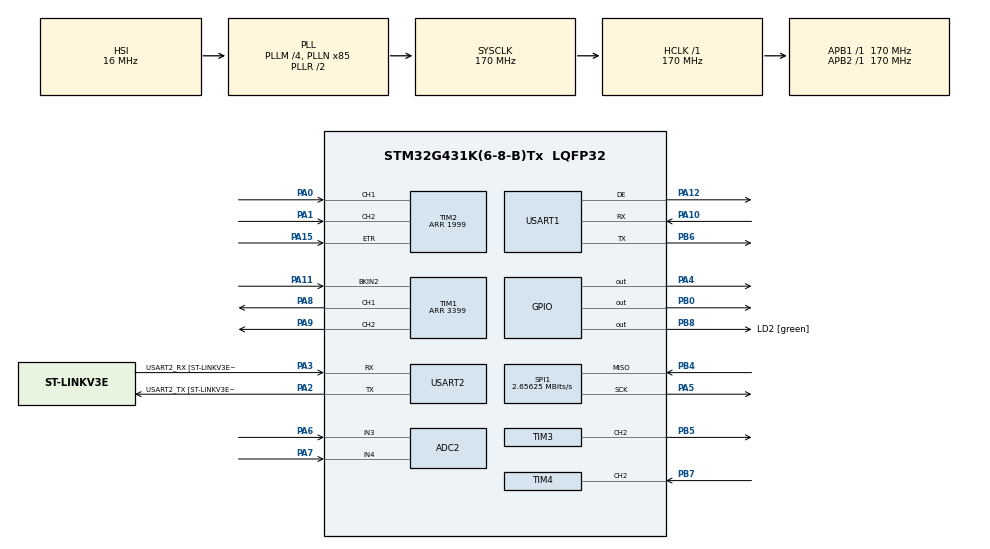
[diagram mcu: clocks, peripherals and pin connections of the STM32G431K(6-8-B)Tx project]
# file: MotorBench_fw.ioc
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ADC2.Channel-0\#ChannelRegularConversion=ADC_CHANNEL_3
ADC2.NbrOfConversionFlag=1
ADC2.OffsetNumber-0\#ChannelRegularConversion=ADC_OFFSET_NONE
ADC2.Rank-0\#ChannelRegularConversion=1
ADC2.SamplingTime-0\#ChannelRegularConversion=ADC_SAMPLETIME_2CYCLES_5
ADC2.SingleDiff-0\#ChannelRegularConversion=ADC_DIFFERENTIAL_ENDED
ARM.CMSIS.5.6.0.CMSISJjDSP=Library
FREERTOS.MEMORY_ALLOCATION=2
FREERTOS.Tasks01=defaultTask,0,128,StartDefaultTask,Default,NULL,Static,defaultTaskBuffer,defaultTaskControlBlock;EncoderRead,0,128,EncoderReadTask,Default,NULL,Static,EncoderReadBuffer,EncoderReadControlBlock;SpiTask,0,256,SpiTaxk,Default,NULL,Static,SpiTaskBuffer,SpiTaskControlBlock
FREERTOS.configENABLE_FPU=1
FREERTOS.configMINIMAL_STACK_SIZE=64
Mcu.Family=STM32G4
Mcu.Name=STM32G431K(6-8-B)Tx
Mcu.Package=LQFP32
NVIC.PriorityGroup=NVIC_PRIORITYGROUP_4
NVIC.TIM1_TRG_COM_TIM17_IRQn=true\:0\:0\:false\:false\:true\:false\:false\:true
NVIC.TimeBase=TIM1_TRG_COM_TIM17_IRQn
NVIC.TimeBaseIP=TIM17
PA0.Signal=S_TIM2_CH1
PA1.Signal=S_TIM2_CH2
PA10.Mode=Asynchronous
PA10.Signal=USART1_RX
PA11.Mode=Activate-Break-Input-2
PA11.Signal=TIM1_BKIN2
PA12.Mode=Hardware Flow Control (RS485)
PA12.Signal=USART1_DE
PA13.GPIO_Label=T_SWDIO
PA13.Mode=Trace_Asynchronous_SW
PA13.Signal=SYS_JTMS-SWDIO
PA14.GPIO_Label=T_SWCLK
PA14.Mode=Trace_Asynchronous_SW
PA14.Signal=SYS_JTCK-SWCLK
PA15.Signal=S_TIM2_ETR
PA2.GPIO_Label=USART2_TX [ST-LINKV3E_VCP_RX]
PA2.Mode=Asynchronous
PA2.Signal=USART2_TX
PA3.GPIO_Label=USART2_RX [ST-LINKV3E_VCP_TX]
PA3.Mode=Asynchronous
PA3.Signal=USART2_RX
PA4.Signal=GPIO_Output
PA5.Mode=RX_Only_Simplex_Unidirect_Master
PA5.Signal=SPI1_SCK
PA6.Mode=IN3-Differential
PA6.Signal=ADC2_IN3
PA7.Mode=IN3-Differential
PA7.Signal=ADC2_IN4
PA8.Signal=S_TIM1_CH1
PA9.Signal=S_TIM1_CH2
PB0.Signal=GPIO_Output
PB3.GPIO_Label=T_SWO
PB3.Mode=Trace_Asynchronous_SW
PB3.Signal=SYS_JTDO-SWO
PB4.Mode=RX_Only_Simplex_Unidirect_Master
PB4.Signal=SPI1_MISO
PB5.Signal=S_TIM3_CH2
PB6.Mode=Asynchronous
PB6.Signal=USART1_TX
PB7.Signal=S_TIM4_CH2
PB8-BOOT0.GPIO_Label=LD2 [green]
PB8-BOOT0.Signal=GPIO_Output
ProjectManager.HeapSize=0x200
ProjectManager.StackSize=0x400
ProjectManager.TargetToolchain=STM32CubeIDE
RCC.ADC12Freq_Value=170000000
RCC.AHBFreq_Value=170000000
RCC.APB1Freq_Value=170000000
RCC.APB1TimFreq_Value=170000000
RCC.APB2Freq_Value=170000000
RCC.APB2TimFreq_Value=170000000
RCC.CortexFreq_Value=170000000
RCC.EXTERNAL_CLOCK_VALUE=12288000
RCC.HCLKFreq_Value=170000000
RCC.HSE_VALUE=8000000
RCC.HSI48_VALUE=48000000
RCC.HSI_VALUE=16000000
RCC.LSE_VALUE=32768
RCC.PLLM=RCC_PLLM_DIV4
RCC.PLLN=85
RCC.SYSCLKFreq_VALUE=170000000
RCC.SYSCLKSource=RCC_SYSCLKSOURCE_PLLCLK
RCC.USBFreq_Value=170000000
RCC.VCOOutputFreq_Value=340000000
SH.S_TIM1_CH1.0=TIM1_CH1,PWM Generation1 CH1
SH.S_TIM1_CH2.0=TIM1_CH2,PWM Generation2 CH2
SH.S_TIM2_CH1.0=TIM2_CH1,Encoder_Interface_w_index
SH.S_TIM2_CH2.0=TIM2_CH2,Encoder_Interface_w_index
SH.S_TIM2_ETR.0=TIM2_ETR,Encoder_Interface_w_index
SH.S_TIM3_CH2.0=TIM3_CH2,PWM Generation2 CH2
SH.S_TIM4_CH2.0=TIM4_CH2,PWM_Input_2
SPI1.BaudRatePrescaler=SPI_BAUDRATEPRESCALER_64
SPI1.CalculateBaudRate=2.65625 MBits/s
SPI1.DataSize=SPI_DATASIZE_8BIT
SPI1.Direction=SPI_DIRECTION_2LINES_RXONLY
SPI1.Mode=SPI_MODE_MASTER
SPI1.VirtualType=VM_MASTER
TIM1.Break2State=TIM_BREAK2_DISABLE
TIM1.Channel-PWM\ Generation1\ CH1=TIM_CHANNEL_1
TIM1.Channel-PWM\ Generation2\ CH2=TIM_CHANNEL_2
TIM1.PeriodNoDither=3399
TIM1.PulseNoDither_1=0
TIM1.PulseNoDither_2=400
TIM1.RepetitionCounter=0
TIM2.EncoderMode=TIM_ENCODERMODE_TI12
TIM2.PeriodNoDither=1999
TIM3.Channel-PWM\ Generation2\ CH2=TIM_CHANNEL_2
USART1.VirtualMode-Asynchronous=VM_ASYNC
USART1.VirtualMode-Hardware\ Flow\ Control\ (RS485)=VM_ASYNC
USART2.VirtualMode-Asynchronous=VM_ASYNC
USART2.WordLength=WORDLENGTH_8B
VP_ARM.CMSIS_VS_CMSISJjDSP_1.7.0.Mode=CMSISJjDSP
VP_FREERTOS_VS_CMSIS_V1.Mode=CMSIS_V1
VP_SYS_VS_DBSignals.Mode=DisableDeadBatterySignals
VP_SYS_VS_tim17.Mode=TIM17
board=NUCLEO-G431KB

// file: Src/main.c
/* USER CODE BEGIN Header */
/**
  ******************************************************************************
  * @file           : main.c
  * @brief          : Main program body
  ******************************************************************************
  * @attention
  *
  * <h2><center>&copy; Copyright (c) 2020 STMicroelectronics.
  * All rights reserved.</center></h2>
  *
  * This software component is licensed by ST under Ultimate Liberty license
  * SLA0044, the "License"; You may not use this file except in compliance with
  * the License. You may obtain a copy of the License at:
  *                             www.st.com/SLA0044
  *
  ******************************************************************************
  */
/* USER CODE END Header */

#include "main.h"
#include "cmsis_os.h"
#include "adc.h"
#include "spi.h"
#include "tim.h"
#include "usart.h"
#include "gpio.h"

/* USER CODE BEGIN Includes */
#include <stdio.h>
#include <stdint.h>

#ifdef __GNUC__
#define PUTCHAR_PROTOTYPE int __io_putchar(int ch)
#else
#define PUTCHAR_PROTOTYPE int fputc(int ch, FILE *f)
#endif /* __GNUC__ */
void __io_putchar(uint8_t ch) {
HAL_UART_Transmit(&huart2, &ch, 1, 1);
}
/* USER CODE END Includes */

void SystemClock_Config(void);
void MX_FREERTOS_Init(void);

int main(void)
{

  /* MCU Configuration--------------------------------------------------------*/

  /* Reset of all peripherals, Initializes the Flash interface and the Systick. */
  HAL_Init();

  /* Configure the system clock */
  SystemClock_Config();

  /* Initialize all configured peripherals */
  MX_GPIO_Init();
  MX_USART2_UART_Init();
  MX_ADC2_Init();
  MX_SPI1_Init();
  MX_TIM1_Init();
  MX_TIM2_Init();
  MX_TIM3_Init();
  MX_TIM4_Init();
  MX_USART1_UART_Init();
  /* USER CODE BEGIN 2 */
  setbuf(stdout, NULL );
  /* USER CODE END 2 */

  /* Call init function for freertos objects (in freertos.c) */
  MX_FREERTOS_Init();
  /* Start scheduler */
  osKernelStart();

  /* We should never get here as control is now taken by the scheduler */
  /* Infinite loop */
  while (1)
  {

  }
}

void SystemClock_Config(void)
{
  RCC_OscInitTypeDef RCC_OscInitStruct = {0};
  RCC_ClkInitTypeDef RCC_ClkInitStruct = {0};
  RCC_PeriphCLKInitTypeDef PeriphClkInit = {0};

  /** Configure the main internal regulator output voltage
  */
  HAL_PWREx_ControlVoltageScaling(PWR_REGULATOR_VOLTAGE_SCALE1_BOOST);
  /** Initializes the CPU, AHB and APB busses clocks
  */
  RCC_OscInitStruct.OscillatorType = RCC_OSCILLATORTYPE_HSI;
  RCC_OscInitStruct.HSIState = RCC_HSI_ON;
  RCC_OscInitStruct.HSICalibrationValue = RCC_HSICALIBRATION_DEFAULT;
  RCC_OscInitStruct.PLL.PLLState = RCC_PLL_ON;
  RCC_OscInitStruct.PLL.PLLSource = RCC_PLLSOURCE_HSI;
  RCC_OscInitStruct.PLL.PLLM = RCC_PLLM_DIV4;
  RCC_OscInitStruct.PLL.PLLN = 85;
  RCC_OscInitStruct.PLL.PLLP = RCC_PLLP_DIV2;
  RCC_OscInitStruct.PLL.PLLQ = RCC_PLLQ_DIV2;
  RCC_OscInitStruct.PLL.PLLR = RCC_PLLR_DIV2;
  if (HAL_RCC_OscConfig(&RCC_OscInitStruct) != HAL_OK)
  {
    Error_Handler();
  }
  /** Initializes the CPU, AHB and APB busses clocks
  */
  RCC_ClkInitStruct.ClockType = RCC_CLOCKTYPE_HCLK|RCC_CLOCKTYPE_SYSCLK
                              |RCC_CLOCKTYPE_PCLK1|RCC_CLOCKTYPE_PCLK2;
  RCC_ClkInitStruct.SYSCLKSource = RCC_SYSCLKSOURCE_PLLCLK;
  RCC_ClkInitStruct.AHBCLKDivider = RCC_SYSCLK_DIV1;
  RCC_ClkInitStruct.APB1CLKDivider = RCC_HCLK_DIV1;
  RCC_ClkInitStruct.APB2CLKDivider = RCC_HCLK_DIV1;

  if (HAL_RCC_ClockConfig(&RCC_ClkInitStruct, FLASH_LATENCY_8) != HAL_OK)
  {
    Error_Handler();
  }
  /** Initializes the peripherals clocks
  */
  PeriphClkInit.PeriphClockSelection = RCC_PERIPHCLK_USART1|RCC_PERIPHCLK_USART2
                              |RCC_PERIPHCLK_ADC12;
  PeriphClkInit.Usart1ClockSelection = RCC_USART1CLKSOURCE_PCLK2;
  PeriphClkInit.Usart2ClockSelection = RCC_USART2CLKSOURCE_PCLK1;
  PeriphClkInit.Adc12ClockSelection = RCC_ADC12CLKSOURCE_SYSCLK;
  if (HAL_RCCEx_PeriphCLKConfig(&PeriphClkInit) != HAL_OK)
  {
    Error_Handler();
  }
}

 /**
  * @brief  Period elapsed callback in non blocking mode
  * @note   This function is called  when TIM17 interrupt took place, inside
  * HAL_TIM_IRQHandler(). It makes a direct call to HAL_IncTick() to increment
  * a global variable "uwTick" used as application time base.
  * @param  htim : TIM handle
  * @retval None
  */
void HAL_TIM_PeriodElapsedCallback(TIM_HandleTypeDef *htim)
{
  if (htim->Instance == TIM17) {
    HAL_IncTick();
  }
}

void Error_Handler(void)
{
}

/************************ (C) COPYRIGHT STMicroelectronics *****END OF FILE****/

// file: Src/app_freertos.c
/* USER CODE BEGIN Header */
/**
  ******************************************************************************
  * File Name          : app_freertos.c
  * Description        : Code for freertos applications
  ******************************************************************************
  * @attention
  *
  * <h2><center>&copy; Copyright (c) 2020 STMicroelectronics.
  * All rights reserved.</center></h2>
  *
  * This software component is licensed by ST under Ultimate Liberty license
  * SLA0044, the "License"; You may not use this file except in compliance with
  * the License. You may obtain a copy of the License at:
  *                             www.st.com/SLA0044
  *
  ******************************************************************************
  */
/* USER CODE END Header */

#include "FreeRTOS.h"
#include "task.h"
#include "main.h"
#include "cmsis_os.h"

/* USER CODE BEGIN Includes */
#include <stdio.h>
#include "tim.h"
#include "spi.h"
#include "usart.h"
/* USER CODE END Includes */

/* USER CODE BEGIN PD */
#define ENABLE_THRMOCOUPLE() HAL_GPIO_WritePin(GPIOA, GPIO_PIN_4, GPIO_PIN_RESET)
#define DISABLE_THRMOCOUPLE() HAL_GPIO_WritePin(GPIOA, GPIO_PIN_4, GPIO_PIN_SET)
#define ENABLE_SERIALENCODER() HAL_GPIO_WritePin(GPIOB, GPIO_PIN_0, GPIO_PIN_SET)
#define DISABLE_SERIALENCODER() HAL_GPIO_WritePin(GPIOB, GPIO_PIN_0, GPIO_PIN_RESET)

/* USER CODE END PD */

osThreadId defaultTaskHandle;
uint32_t defaultTaskBuffer[ 128 ];
osStaticThreadDef_t defaultTaskControlBlock;
osThreadId EncoderReadHandle;
uint32_t EncoderReadBuffer[ 128 ];
osStaticThreadDef_t EncoderReadControlBlock;
osThreadId SpiTaskHandle;
uint32_t SpiTaskBuffer[ 256 ];
osStaticThreadDef_t SpiTaskControlBlock;

void StartDefaultTask(void const * argument);
void EncoderReadTask(void const * argument);
void SpiTaxk(void const * argument);

void MX_FREERTOS_Init(void); /* (MISRA C 2004 rule 8.1) */

/* GetIdleTaskMemory prototype (linked to static allocation support) */
void vApplicationGetIdleTaskMemory( StaticTask_t **ppxIdleTaskTCBBuffer, StackType_t **ppxIdleTaskStackBuffer, uint32_t *pulIdleTaskStackSize );

/* USER CODE BEGIN GET_IDLE_TASK_MEMORY */
static StaticTask_t xIdleTaskTCBBuffer;
static StackType_t xIdleStack[configMINIMAL_STACK_SIZE];

void vApplicationGetIdleTaskMemory( StaticTask_t **ppxIdleTaskTCBBuffer, StackType_t **ppxIdleTaskStackBuffer, uint32_t *pulIdleTaskStackSize )
{
  *ppxIdleTaskTCBBuffer = &xIdleTaskTCBBuffer;
  *ppxIdleTaskStackBuffer = &xIdleStack[0];
  *pulIdleTaskStackSize = configMINIMAL_STACK_SIZE;
  /* place for user code */
}
/* USER CODE END GET_IDLE_TASK_MEMORY */

void MX_FREERTOS_Init(void) {

  /* Create the thread(s) */
  /* definition and creation of defaultTask */
  osThreadStaticDef(defaultTask, StartDefaultTask, osPriorityNormal, 0, 128, defaultTaskBuffer, &defaultTaskControlBlock);
  defaultTaskHandle = osThreadCreate(osThread(defaultTask), NULL);

  /* definition and creation of EncoderRead */
  osThreadStaticDef(EncoderRead, EncoderReadTask, osPriorityNormal, 0, 128, EncoderReadBuffer, &EncoderReadControlBlock);
  EncoderReadHandle = osThreadCreate(osThread(EncoderRead), NULL);

  /* definition and creation of SpiTask */
  osThreadStaticDef(SpiTask, SpiTaxk, osPriorityNormal, 0, 256, SpiTaskBuffer, &SpiTaskControlBlock);
  SpiTaskHandle = osThreadCreate(osThread(SpiTask), NULL);

}

void StartDefaultTask(void const * argument)
{
  /* USER CODE BEGIN StartDefaultTask */
  HAL_TIM_PWM_Start(&htim1, TIM_CHANNEL_1);
  HAL_TIM_PWM_Start(&htim1, TIM_CHANNEL_2);
  uint8_t buf[] = "hello\r\n";
  /* Infinite loop */
  for(;;)
  {
    HAL_GPIO_TogglePin(LD2_GPIO_Port, LD2_Pin);
    HAL_UART_Transmit(&huart1, buf, 8 , 0xFFF);

    osDelay(100);
  }
  /* USER CODE END StartDefaultTask */
}

void EncoderReadTask(void const * argument)
{
  /* USER CODE BEGIN EncoderReadTask */
  HAL_TIM_Encoder_Start(&htim2, TIM_CHANNEL_ALL);
  /* Infinite loop */
  for(;;)
  {
    printf("%4ld\r\n", TIM2->CNT);
    osDelay(10);
  }
  /* USER CODE END EncoderReadTask */
}

void SpiTaxk(void const * argument)
{
  /* USER CODE BEGIN SpiTaxk */
  DISABLE_SERIALENCODER();
  DISABLE_THRMOCOUPLE();
  uint8_t data[6];
  /* Infinite loop */
  for(;;)
  {
    HAL_SPI_Receive(&hspi1, data, 6, 0xFFF);
    osDelay(100);
  }
  /* USER CODE END SpiTaxk */
}

/************************ (C) COPYRIGHT STMicroelectronics *****END OF FILE****/
